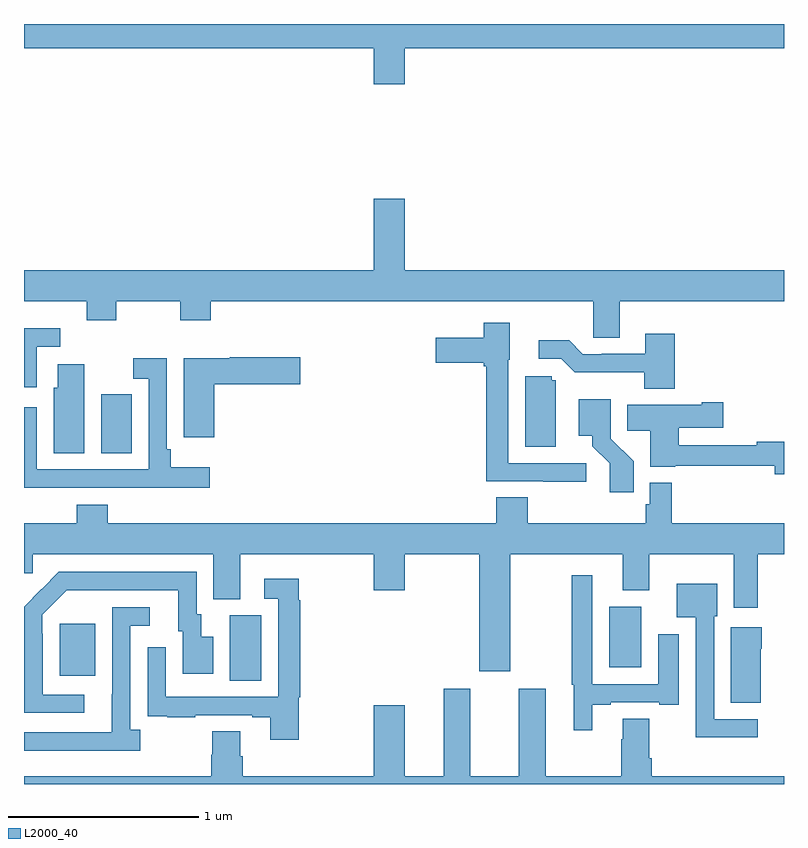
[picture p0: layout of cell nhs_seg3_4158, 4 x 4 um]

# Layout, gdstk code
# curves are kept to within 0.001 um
import gdstk
lib = gdstk.Library(unit=1e-6, precision=1e-09)
def R(c, l, rs):  # rectangles x0, y0, x1, y1
    for r in rs: c.add(gdstk.rectangle(r[:2], r[2:], *l))
def P(c, l, *ps):  # polygons
    for p in ps: c.add(gdstk.Polygon(p, *l))
L2000_40 = (2000, 40)

nhs_seg3_4158 = lib.new_cell('nhs_seg3_4158')
R(nhs_seg3_4158, L2000_40, [(332.084,674.944,332.248,675.288), (331.187,674.969,331.375,675.244), (334.079,675.014,334.249,675.334), (331.406,676.141,331.567,676.452)])
P(nhs_seg3_4158, L2000_40, [(333.004,678.272),(335,678.272),(335,678.4),(331,678.4),(331,678.272),(332.84,678.272),(332.84,678.084),(333.004,678.084)],
  [(334.135,676.94),(335,676.94),(335,677.104),(333.004,677.104),(333.004,677.479),(332.84,677.479),(332.84,677.104),(331,677.104),(331,676.94),(331.33,676.94),(331.33,676.841),(331.485,676.841),(331.485,676.94),(331.822,676.94),(331.822,676.841),(331.982,676.841),(331.982,676.94),(333.996,676.94),(333.996,676.75),(334.135,676.75)],
  [(333.958,676.089),(333.549,676.089),(333.549,676.632),(333.556,676.632),(333.556,676.828),(333.42,676.828),(333.42,676.75),(333.168,676.75),(333.168,676.616),(333.42,676.616),(333.42,676.598),(333.433,676.598),(333.433,675.993),(333.733,675.993),(333.733,675.991),(333.958,675.991)],
  [(331.068,676.701),(331.192,676.701),(331.192,676.798),(331,676.798),(331,676.488),(331.068,676.488)],
  [(334.424,676.771),(334.271,676.771),(334.271,676.665),(334.042,676.665),(334.042,676.662),(333.942,676.662),(333.869,676.735),(333.708,676.735),(333.708,676.638),(333.828,676.638),(333.899,676.568),(334.264,676.568),(334.264,676.481),(334.424,676.481)],
  [(332,676.505),(332.455,676.505),(332.455,676.647),(332.083,676.647),(332.083,676.642),(331.841,676.642),(331.841,676.224),(332,676.224)],
  [(331.193,675.96),(331.559,675.96),(331.559,675.959),(331.978,675.959),(331.978,676.066),(331.772,676.066),(331.772,676.162),(331.752,676.162),(331.752,676.642),(331.575,676.642),(331.575,676.533),(331.656,676.533),(331.656,676.056),(331.068,676.056),(331.068,676.384),(331,676.384),(331,675.959),(331.193,675.959)],
  [(331.318,676.609),(331.178,676.609),(331.178,676.485),(331.157,676.485),(331.157,676.141),(331.318,676.141)],
  [(333.799,676.524),(333.777,676.524),(333.777,676.545),(333.638,676.545),(333.638,676.176),(333.799,676.176)],
  [(334.208,676.098),(334.089,676.217),(334.089,676.426),(333.92,676.426),(333.92,676.232),(333.992,676.232),(333.992,676.177),(334.083,676.087),(334.083,675.936),(334.208,675.936)],
  [(335,676.202),(334.856,676.202),(334.856,676.182),(334.445,676.182),(334.445,676.274),(334.681,676.274),(334.681,676.409),(334.568,676.409),(334.568,676.396),(334.174,676.396),(334.174,676.258),(334.295,676.258),(334.295,676.07),(334.428,676.07),(334.428,676.074),(334.952,676.074),(334.952,676.031),(335,676.031)],
  [(333.559,675.608),(334.151,675.608),(334.151,675.419),(334.291,675.419),(334.291,675.608),(334.736,675.608),(334.736,675.327),(334.862,675.327),(334.862,675.608),(335,675.608),(335,675.772),(334.409,675.772),(334.409,675.985),(334.293,675.985),(334.293,675.873),(334.273,675.873),(334.273,675.772),(333.65,675.772),(333.65,675.908),(333.485,675.908),(333.485,675.772),(331.442,675.772),(331.442,675.871),(331.277,675.871),(331.277,675.772),(331,675.772),(331,675.51),(331.047,675.51),(331.047,675.608),(331.997,675.608),(331.997,675.373),(332.137,675.373),(332.137,675.608),(332.84,675.608),(332.84,675.42),(333.004,675.42),(333.004,675.608),(333.395,675.608),(333.395,674.994),(333.559,674.994)],
  [(331.318,674.871),(331.098,674.871),(331.098,675.191),(331.095,675.191),(331.095,675.291),(331.224,675.42),(331.811,675.42),(331.811,675.204),(331.835,675.204),(331.835,674.979),(331.996,674.979),(331.996,675.175),(331.933,675.175),(331.933,675.294),(331.908,675.294),(331.908,675.516),(331.184,675.516),(331,675.334),(331,675.233),(331.002,675.233),(331.002,674.775),(331.318,674.775)],
  [(333.991,674.817),(334.087,674.817),(334.087,674.829),(334.343,674.829),(334.343,674.817),(334.447,674.817),(334.447,675.187),(334.337,675.187),(334.337,674.925),(333.99,674.925),(333.99,675.499),(333.882,675.499),(333.882,674.922),(333.893,674.922),(333.893,674.682),(333.991,674.682)],
  [(332.446,674.856),(332.453,674.856),(332.453,675.368),(332.446,675.368),(332.446,675.481),(332.265,675.481),(332.265,675.375),(332.337,675.375),(332.337,674.859),(331.746,674.859),(331.746,675.121),(331.65,675.121),(331.65,674.866),(331.651,674.866),(331.651,674.757),(331.753,674.757),(331.753,674.751),(331.901,674.751),(331.901,674.763),(332.201,674.763),(332.201,674.751),(332.297,674.751),(332.297,674.634),(332.446,674.634)],
  [(334.861,674.742),(334.632,674.742),(334.632,675.282),(334.648,675.282),(334.648,675.454),(334.436,675.454),(334.436,675.278),(334.536,675.278),(334.536,674.645),(334.861,674.645)],
  [(331.612,674.686),(331.56,674.686),(331.56,675.234),(331.663,675.234),(331.663,675.33),(331.464,675.33),(331.464,674.873),(331.463,674.873),(331.463,674.673),(331,674.673),(331,674.576),(331.612,674.576)],
  [(334.878,675.113),(334.883,675.113),(334.883,675.226),(334.721,675.226),(334.721,674.827),(334.878,674.827)],
  [(335,674.44),(334.304,674.44),(334.304,674.536),(334.291,674.536),(334.291,674.744),(334.151,674.744),(334.151,674.636),(334.144,674.636),(334.144,674.44),(333.745,674.44),(333.745,674.902),(333.605,674.902),(333.605,674.44),(333.349,674.44),(333.349,674.902),(333.209,674.902),(333.209,674.44),(333.004,674.44),(333.004,674.815),(332.84,674.815),(332.84,674.44),(332.15,674.44),(332.15,674.546),(332.137,674.546),(332.137,674.678),(331.99,674.678),(331.99,674.553),(331.985,674.553),(331.985,674.44),(331,674.44),(331,674.4),(335,674.4)])

lib.write_gds('nhs_seg3_4158.gds')
